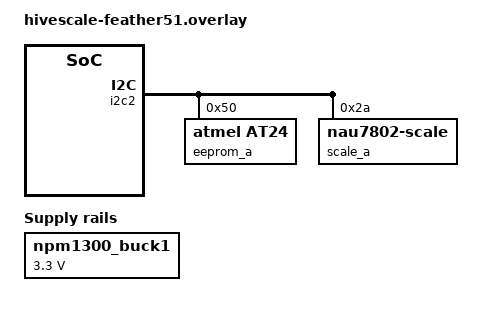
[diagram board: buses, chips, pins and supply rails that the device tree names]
/*
 * Copyright (c) 2025 Achim Kraus CloudCoap.net
 *
 * See the NOTICE file(s) distributed with this work for additional
 * information regarding copyright ownership.
 *
 * This program and the accompanying materials are made available under the
 * terms of the Eclipse Public License 2.0 which is available at
 * http: //www.eclipse.org/legal/epl-2.0
 *
 * SPDX-License-Identifier: EPL-2.0
 */

/*
 * Usage (NCS 2.9.1):
 *
 * west build -d build_feather_nrf9151_ns -b circuitdojo_feather_nrf9151/nrf9151/ns --pristine -- \
 *    -DOVERLAY_CONFIG="60min0-prj.conf;uart-prj.conf;hivescale-prj.conf" \
 *    -DDTC_OVERLAY_FILE="hivescale-feather51.overlay" -DCONFIG_BATTERY_TYPE_ENELOOP_2000_MAH=y
 */

#include "boards/circuitdojo_feather_nrf9151_ns.overlay"

&i2c2 {

	eeprom_a: eeprom@50 {
		/* AT24HC04B (4 kbit eeprom 512x8 bit) */
		/* NOTE: the 9th address bit collides with the 0x51 of the feather clock chip. */
		compatible = "atmel,at24";
		reg = <0x50>;
		size = <512>;
		pagesize = <16>;
		address-width = <8>;
		timeout = <5>;
	};

	scale_a: scale@2a {
		compatible = "nau7802-scale";
		reg = <0x2a>;
		avref_mv = <2700>;
		ext_avref_mv = <0>;
		gain = <32>;
		min_divider = <500>;
		max_dither = <50>;
		internal_oscilator;
		pga_cap;
//		calibration_storage = <&eeprom_a>;
	};

};

&npm1300_buck1 {
	// 2.7V will result in less NAU7802 performance
	regulator-min-microvolt = <3300000>;	
};

/    {

	aliases {
		scale-a = &scale_a;
	};

};
